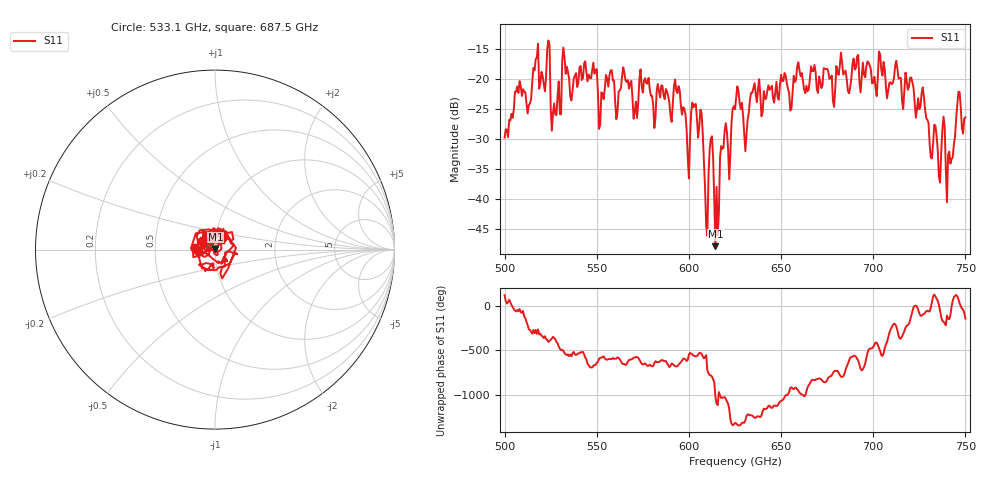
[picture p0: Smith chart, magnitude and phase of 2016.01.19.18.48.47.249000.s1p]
!Created with skrf (http://scikit-rf.org).
# GHz S RI R 50.0
!freq ReS11 ImS11
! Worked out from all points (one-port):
!   401 points, 500 GHz to 750 GHz, reference 50 ohm
!   lowest |S11| = -47.8 dB at 614.4 GHz (marker M1), VSWR 1.01, Z = 50.2 + j0.352 ohm
!   |S11| at or under -10 dB: start of sweep to end of sweep
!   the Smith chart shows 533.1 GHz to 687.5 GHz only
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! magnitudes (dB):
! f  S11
! 500 GHz  -29.8
! 506.9 GHz  -21.3
! 513.1 GHz  -24.4
! 516.9 GHz  -16.7
! 523.8 GHz  -13.6
! 526.9 GHz  -24.1
! 531.2 GHz  -17.0
! 562.5 GHz  -21.9
! 593.8 GHz  -22.4
! 599.4 GHz  -33.1
! 602.5 GHz  -24.7
! 606.2 GHz  -25.1
! 609.4 GHz  -44.4
! 611.9 GHz  -30.0
! 614.4 GHz  -47.8
! 615.6 GHz  -46.0
! 618.8 GHz  -31.5
! 621.9 GHz  -36.7
! 625 GHz  -25.1
! 630.6 GHz  -32.0
! 635 GHz  -21.5
! 656.2 GHz  -22.2
! 660 GHz  -18.6
! 687.5 GHz  -21.4
! 718.8 GHz  -21.8
! 740.6 GHz  -32.6
! 746.2 GHz  -22.2
! 750 GHz  -26.4
